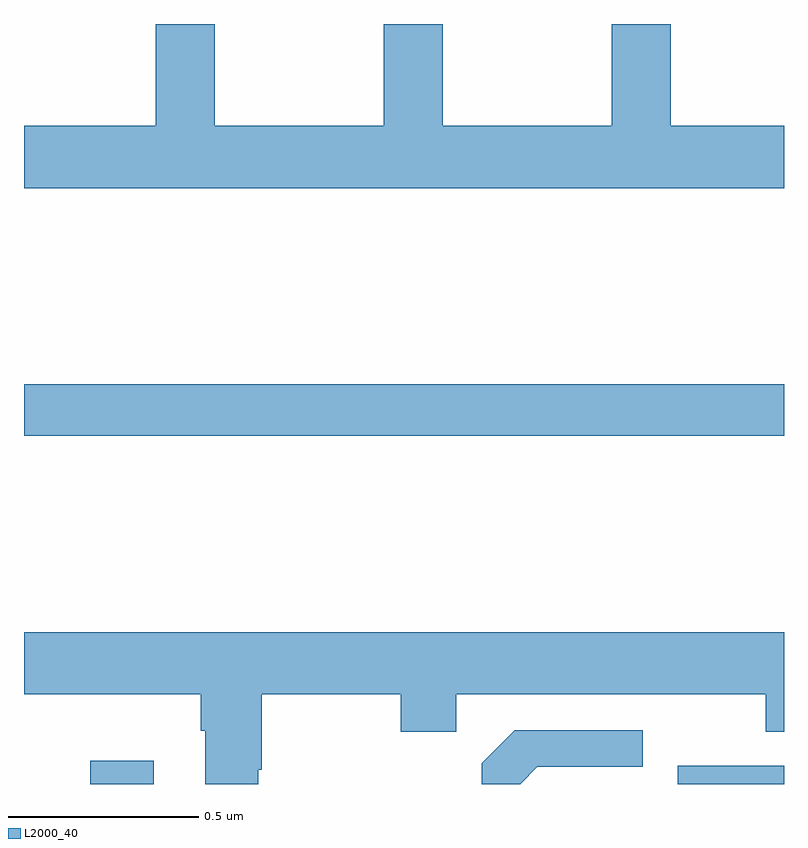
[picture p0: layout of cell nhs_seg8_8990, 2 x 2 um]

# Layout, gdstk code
import gdstk
lib = gdstk.Library(unit=1e-6, precision=1e-09)
def R(c, l, rs):  # rectangles x0, y0, x1, y1
    for r in rs: c.add(gdstk.rectangle(r[:2], r[2:], *l))
def P(c, l, *ps):  # polygons
    for p in ps: c.add(gdstk.Polygon(p, *l))
L2000_40 = (2000, 40)

nhs_seg8_8990 = lib.new_cell('nhs_seg8_8990')
R(nhs_seg8_8990, L2000_40, [(230.174,1146.9,230.341,1146.961), (231.72,1146.9,232,1146.948), (230,1147.816,232,1147.952)])
P(nhs_seg8_8990, L2000_40, [(232,1148.632),(231.702,1148.632),(231.702,1148.9),(231.547,1148.9),(231.547,1148.632),(231.102,1148.632),(231.102,1148.9),(230.947,1148.9),(230.947,1148.632),(230.502,1148.632),(230.502,1148.9),(230.347,1148.9),(230.347,1148.632),(230,1148.632),(230,1148.468),(232,1148.468)],
  [(230.617,1146.937),(230.625,1146.937),(230.625,1147.136),(230.992,1147.136),(230.992,1147.037),(231.138,1147.037),(231.138,1147.136),(231.952,1147.136),(231.952,1147.037),(232,1147.037),(232,1147.3),(230,1147.3),(230,1147.136),(230.465,1147.136),(230.465,1147.04),(230.477,1147.04),(230.477,1146.9),(230.617,1146.9)],
  [(231.351,1146.945),(231.628,1146.945),(231.628,1147.041),(231.291,1147.041),(231.204,1146.954),(231.204,1146.9),(231.306,1146.9)])

lib.write_gds('nhs_seg8_8990.gds')
